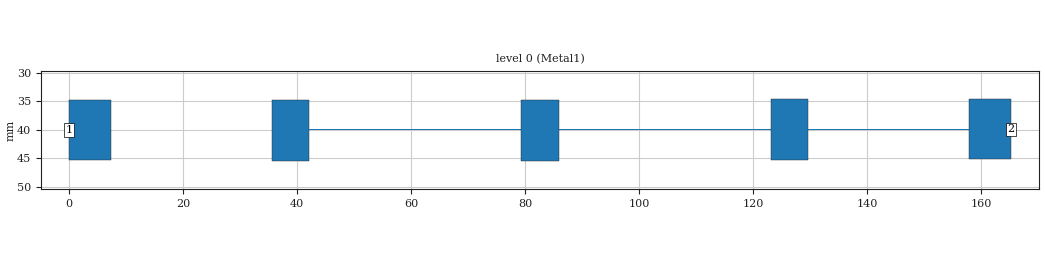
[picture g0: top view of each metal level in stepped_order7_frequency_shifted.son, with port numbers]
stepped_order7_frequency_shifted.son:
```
FTYP SONPROJ 19 ! Sonnet Project File
VER 18.53
HEADER
LIC SL61ea36e0
DAT 02/17/2022 22:16:42
BUILT_BY_CREATED xgeom 18.53-Lite 02/16/2022 15:56:57
BUILT_BY_SAVED sonnet 18.53-Lite
MDATE 02/16/2022 16:34:23
HDATE 02/16/2022 16:34:23
END HEADER
DIM
ANG DEG
CAP PF
CON /OH
FREQ GHZ
IND NH
LNG MM
RES OH
END DIM
CONTROL
VARSWP
OPTIONS  -d
SPEED 0
CACHE_ABS 2
Q_ACC N
END CONTROL
GEO
TMET "Free Space" 0 FREESPACE 376.7303136 0 0 0
BMET "Copper" 1 NOR 58000000 0.5 0.035 
MET "Copper" 1 NOR 58000000 0.5 0.035 
BOX 1 165.3 80 3306 1600 20 0
      20 1 1 0 0 0 0 "Air"
      1.6 4.4 1 0.02 0 0 0 "FR-4"
TECHLAY METAL Metal1 <UNSPECIFIED> -2 -65534 
0 0 0 N 109 1 1 100 100 0 0 0 Y
END
END
LORGN 0 6.35 U 
POR1 BOX
POLY 24 1
3
1 50 0 0 0 1.998401444e-15 40 
POR1 BOX
POLY 39 1
1
2 50 0 0 0 165.3 39.9 
NUM 9
0 5 0 N 24 1 1 100 100 0 0 0 Y
TLAYNAM Metal1 INH
1.998401444e-15 34.7
7.4 34.7
7.4 45.3
1.998401444e-15 45.3
1.998401444e-15 34.7
END
0 5 0 N 30 1 1 100 100 0 0 0 Y
TLAYNAM Metal1 INH
7.4 39.95
35.6 39.95
35.6 40.05
7.4 40.05
7.4 39.95
END
0 5 0 N 32 1 1 100 100 0 0 0 Y
TLAYNAM Metal1 INH
35.6 34.75
42.1 34.75
42.1 45.45
35.6 45.45
35.6 34.75
END
0 5 0 N 34 1 1 100 100 0 0 0 Y
TLAYNAM Metal1 INH
42.1 39.8
79.3 39.8
79.3 40
42.1 40
42.1 39.8
END
0 5 0 N 36 1 1 100 100 0 0 0 Y
TLAYNAM Metal1 INH
79.3 34.8
86 34.8
86 45.5
79.3 45.5
79.3 34.8
END
0 5 0 N 39 1 1 100 100 0 0 0 Y
TLAYNAM Metal1 INH
157.9 34.6
165.3 34.6
165.3 45.2
157.9 45.2
157.9 34.6
END
0 5 0 N 97 1 1 100 100 0 0 0 Y
TLAYNAM Metal1 INH
86 39.9
123.2 39.9
123.2 40.1
86 40.1
86 39.9
END
0 5 0 N 98 1 1 100 100 0 0 0 Y
TLAYNAM Metal1 INH
123.2 34.55
129.7 34.55
129.7 45.25
123.2 45.25
123.2 34.55
END
0 5 0 N 99 1 1 100 100 0 0 0 Y
TLAYNAM Metal1 INH
129.7 39.85
157.9 39.85
157.9 39.95
129.7 39.95
129.7 39.85
END
END GEO
OPT
MAX 100
END OPT
VARSWP
ENABLED Y
FREQ Y AN SWEEP 0.05 3.0 0.05
END
END VARSWP
```
